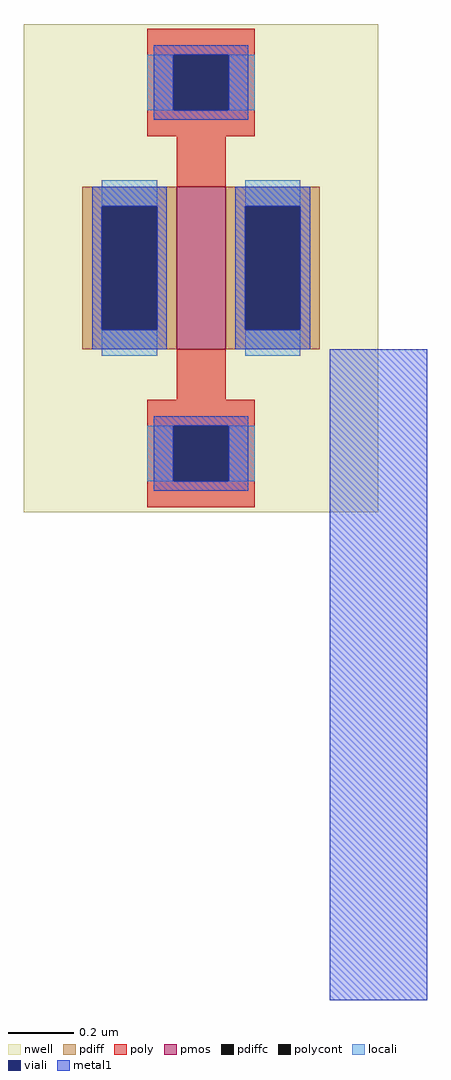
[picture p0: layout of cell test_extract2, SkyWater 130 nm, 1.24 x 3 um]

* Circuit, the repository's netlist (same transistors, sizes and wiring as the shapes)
* NGSPICE file created from test_extract2.ext - technology: sky130B

.subckt dev_pfet_w050 G S D
X0 D G S w_n109_n150# sky130_fd_pr__pfet_01v8 ad=0.145 pd=1.58 as=0.145 ps=1.58 w=0.5 l=0.15
.ends


* Top level circuit test_extract2

Xdev_pfet_w050_0 dev_pfet_w050_0/G dev_pfet_w050_0/S dev_pfet_w050_0/D dev_pfet_w050
.end

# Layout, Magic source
magic
tech sky130B
magscale 1 2
<< metal1 >>
rect 370 -200 430 200
use dev_pfet_w050  dev_pfet_w050_0
transform 1 0 291 0 1 250
box -109 -150 109 150
<< end >>

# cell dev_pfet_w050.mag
magic
tech sky130B
magscale 1 2
<< nwell >>
rect -109 -150 109 150
<< pmos >>
rect -15 -50 15 50
<< pdiff >>
rect -73 38 -15 50
rect -73 -38 -61 38
rect -27 -38 -15 38
rect -73 -50 -15 -38
rect 15 38 73 50
rect 15 -38 27 38
rect 61 -38 73 38
rect 15 -50 73 -38
<< pdiffc >>
rect -61 -38 -27 38
rect 27 -38 61 38
<< poly >>
rect -33 131 33 147
rect -33 97 -17 131
rect 17 97 33 131
rect -33 81 33 97
rect -15 50 15 81
rect -15 -81 15 -50
rect -33 -97 33 -81
rect -33 -131 -17 -97
rect 17 -131 33 -97
rect -33 -147 33 -131
<< polycont >>
rect -17 97 17 131
rect -17 -131 17 -97
<< locali >>
rect -33 97 -17 131
rect 17 97 33 131
rect -61 38 -27 54
rect -61 -54 -27 -38
rect 27 38 61 54
rect 27 -54 61 -38
rect -33 -131 -17 -97
rect 17 -131 33 -97
<< viali >>
rect -17 97 17 131
rect -61 -38 -27 38
rect 27 -38 61 38
rect -17 -131 17 -97
<< metal1 >>
rect -29 131 29 137
rect -29 97 -17 131
rect 17 97 29 131
rect -29 91 29 97
rect -67 38 -21 50
rect -67 -38 -61 38
rect -27 -38 -21 38
rect -67 -50 -21 -38
rect 21 38 67 50
rect 21 -38 27 38
rect 61 -38 67 38
rect 21 -50 67 -38
rect -29 -97 29 -91
rect -29 -131 -17 -97
rect 17 -131 29 -97
rect -29 -137 29 -131
<< labels >>
flabel metal1 s -29 -137 29 -131 0 FreeSans 16 0 0 0 G
port 0 nsew
flabel metal1 s -67 -50 -21 50 0 FreeSans 16 0 0 0 S
port 1 nsew
flabel metal1 s 21 -50 67 50 0 FreeSans 16 0 0 0 D
port 2 nsew
<< end >>
